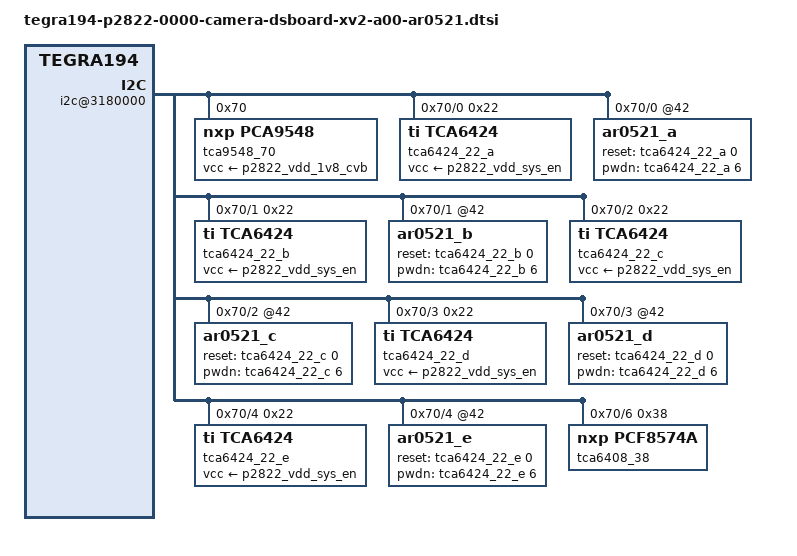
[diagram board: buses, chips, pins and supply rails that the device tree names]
/*
 * Copyright (c) 2015-2018, NVIDIA CORPORATION.  All rights reserved.
 *
 * This program is free software; you can redistribute it and/or modify
 * it under the terms of the GNU General Public License as published by
 * the Free Software Foundation; either version 2 of the License, or
 * (at your option) any later version.
 *
 * This program is distributed in the hope that it will be useful, but WITHOUT
 * ANY WARRANTY; without even the implied warranty of MERCHANTABILITY or
 * FITNESS FOR A PARTICULAR PURPOSE.  See the GNU General Public License for
 * more details.
 *
 * You should have received a copy of the GNU General Public License
 * along with this program.  If not, see <http://www.gnu.org/licenses/>.
 */
#include "tegra194-camera-dsboard-xv2-a00-ar0521.dtsi"
#include "dt-bindings/clock/tegra194-clock.h"

#define CAMERA_I2C_MUX_BUS(x) (0x1E + x)

/* Enable Six overlays */
&head0 {
	win-mask = <0x3f>;
};

/ {

	i2c@3180000 {
		tca9548_70: tca9548@70 {
			status = "okay";
			compatible = "nxp,pca9548";
			reg = <0x70>;
			#address-cells = <1>;
			#size-cells = <0>;
			vcc-supply = <&p2822_vdd_1v8_cvb>;
			skip_mux_detect;
			force_bus_start = <CAMERA_I2C_MUX_BUS(0)>;
			i2c@0 {
				status="okay";
				reg = <0>;
				i2c-mux,deselect-on-exit;
				#address-cells = <1>;
				#size-cells = <0>;
				tca6424_22_a: tca6424@22 {
			    		compatible = "ti,tca6424";
			    		gpio-controller;
			    		#gpio-cells = <2>;
			    		reg = <0x22>;
					vcc-supply = <&p2822_vdd_sys_en>;
			    		status = "okay";
			    		tca6424_22_outlow {
			    		/*
				 	* GPIO-0 : RST_CAM1
				 	* GPIO-1 : RST_CAM2
				 	* GPIO-2 : RST_CAM3
				 	* .... more is there
				 	*/
				 	gpio-hog;
				 	gpios = <0 0 1 0 2 0 3 0 4 0 5 0 6 0 7 0>;
				 	output-low;
				 	label = "tca6424_22_outlow_0",
				         	"tca6424_22_outlow_1",
				         	"tca6424_22_outlow_2",
				         	"tca6424_22_outlow_3",
				         	"tca6424_22_outlow_4",
				         	"tca6424_22_outlow_5",
				         	"tca6424_22_outlow_6",
				         	"tca6424_22_outlow_7";
			    		};
			    		tca6424_22_outhigh {
			            		status = "disabled";
			    		};
			    		tca6424_22_input {
			            		status = "disabled";
			    		};
				};
				ar0521_a@42 {
					reset-gpios = <&tca6424_22_a 0 GPIO_ACTIVE_HIGH>;
					pwdn-gpios  = <&tca6424_22_a 6 GPIO_ACTIVE_HIGH>;
				};
			};
			i2c@1 {
				status="okay";
				reg = <1>;
				i2c-mux,deselect-on-exit;
				#address-cells = <1>;
				#size-cells = <0>;
				tca6424_22_b: tca6424@22 {
			    		compatible = "ti,tca6424";
			    		gpio-controller;
			    		#gpio-cells = <2>;
			    		reg = <0x22>;
					vcc-supply = <&p2822_vdd_sys_en>;
			    		status = "okay";
			    		tca6424_22_outlow {
			    		/*
				 	* GPIO-0 : RST_CAM1
				 	* GPIO-1 : RST_CAM2
				 	* GPIO-2 : RST_CAM3
				 	* .... more is there
				 	*/
				 	gpio-hog;
				 	gpios = <0 0 1 0 2 0 3 0 4 0 5 0 6 0 7 0>;
				 	output-low;
				 	label = "tca6424_22_outlow_0",
				         	"tca6424_22_outlow_1",
				         	"tca6424_22_outlow_2",
				         	"tca6424_22_outlow_3",
				         	"tca6424_22_outlow_4",
				         	"tca6424_22_outlow_5",
				         	"tca6424_22_outlow_6",
				         	"tca6424_22_outlow_7";
			    		};
			    		tca6424_22_outhigh {
			            		status = "disabled";
			    		};
			    		tca6424_22_input {
			            		status = "disabled";
			    		};
				};
				ar0521_b@42 {
					reset-gpios = <&tca6424_22_b 0 GPIO_ACTIVE_HIGH>;
					pwdn-gpios  = <&tca6424_22_b 6 GPIO_ACTIVE_HIGH>;
				};
			};
			i2c@2 {
				status="okay";
				reg = <2>;
				i2c-mux,deselect-on-exit;
				#address-cells = <1>;
				#size-cells = <0>;
				tca6424_22_c: tca6424@22 {
			    		compatible = "ti,tca6424";
			    		gpio-controller;
			    		#gpio-cells = <2>;
			    		reg = <0x22>;
					vcc-supply = <&p2822_vdd_sys_en>;
			    		status = "okay";
			    		tca6424_22_outlow {
			    			/*
				 		* GPIO-0 : RST_CAM1
				 		* GPIO-1 : RST_CAM2
				 		* GPIO-2 : RST_CAM3
				 		* .... more is there
				 		*/
				 		gpio-hog;
				 		gpios = <0 0 1 0 2 0 3 0 4 0 5 0 6 0 7 0>;
				 		output-low;
				 		label = "tca6424_22_outlow_0",
				         		"tca6424_22_outlow_1",
				         		"tca6424_22_outlow_2",
				         		"tca6424_22_outlow_3",
				         		"tca6424_22_outlow_4",
				         		"tca6424_22_outlow_5",
				         		"tca6424_22_outlow_6",
				         		"tca6424_22_outlow_7";
			    		};
			    		tca6424_22_outhigh {
			            		status = "disabled";
			    		};
			    		tca6424_22_input {
			            		status = "disabled";
			    		};
				};	
				ar0521_c@42 {
					reset-gpios = <&tca6424_22_c 0 GPIO_ACTIVE_HIGH>;
					pwdn-gpios  = <&tca6424_22_c 6 GPIO_ACTIVE_HIGH>;
				};
			};
			i2c@3 {
				status="okay";
				reg = <3>;
				i2c-mux,deselect-on-exit;
				#address-cells = <1>;
				#size-cells = <0>;
				tca6424_22_d: tca6424@22 {
			    		compatible = "ti,tca6424";
			    		gpio-controller;
			    		#gpio-cells = <2>;
			    		reg = <0x22>;
					vcc-supply = <&p2822_vdd_sys_en>;
			    		status = "okay";
			    		tca6424_22_outlow {
			    			/*
				 		* GPIO-0 : RST_CAM1
				 		* GPIO-1 : RST_CAM2
				 		* GPIO-2 : RST_CAM3
				 		* .... more is there
				 		*/
				 		gpio-hog;
				 		gpios = <0 0 1 0 2 0 3 0 4 0 5 0 6 0 7 0>;
				 		output-low;
				 		label = "tca6424_22_outlow_0",
				         		"tca6424_22_outlow_1",
				         		"tca6424_22_outlow_2",
				         		"tca6424_22_outlow_3",
				         		"tca6424_22_outlow_4",
				         		"tca6424_22_outlow_5",
				         		"tca6424_22_outlow_6",
				         		"tca6424_22_outlow_7";
			    		};
			    		tca6424_22_outhigh {
			            		status = "disabled";
			    		};
			    		tca6424_22_input {
			            		status = "disabled";
			    		};
				};
				ar0521_d@42 {
					reset-gpios = <&tca6424_22_d 0 GPIO_ACTIVE_HIGH>;
					pwdn-gpios  = <&tca6424_22_d 6 GPIO_ACTIVE_HIGH>;
				};
			};
			i2c@4 {
				status="okay";
				reg = <4>;
				i2c-mux,deselect-on-exit;
				#address-cells = <1>;
				#size-cells = <0>;
				tca6424_22_e: tca6424@22 {
			    		compatible = "ti,tca6424";
			    		gpio-controller;
			    		#gpio-cells = <2>;
			    		reg = <0x22>;
					vcc-supply = <&p2822_vdd_sys_en>;
			    		status = "okay";
			    		tca6424_22_outlow {
			    			/*
				 		* GPIO-0 : RST_CAM1
				 		* GPIO-1 : RST_CAM2
				 		* GPIO-2 : RST_CAM3
				 		* .... more is there
				 		*/
				 		gpio-hog;
				 		gpios = <0 0 1 0 2 0 3 0 4 0 5 0 6 0 7 0>;
				 		output-low;
				 		label = "tca6424_22_outlow_0",
				         		"tca6424_22_outlow_1",
				         		"tca6424_22_outlow_2",
				         		"tca6424_22_outlow_3",
				         		"tca6424_22_outlow_4",
				         		"tca6424_22_outlow_5",
				         		"tca6424_22_outlow_6",
				         		"tca6424_22_outlow_7";
			    		};
			    		tca6424_22_outhigh {
			            		status = "disabled";
			    		};
			    		tca6424_22_input {
			            		status = "disabled";
			    		};
				};
				ar0521_e@42 {
					reset-gpios = <&tca6424_22_e 0 GPIO_ACTIVE_HIGH>;
					pwdn-gpios  = <&tca6424_22_e 6 GPIO_ACTIVE_HIGH>;
				};
			};
			i2c@5 {
				status="disabled";
				reg = <5>;
				i2c-mux,deselect-on-exit;
				#address-cells = <1>;
				#size-cells = <0>;
				tca6424_22_f: tca6424@22 {
			    		compatible = "ti,tca6424";
			    		gpio-controller;
			    		#gpio-cells = <2>;
			    		reg = <0x22>;
					vcc-supply = <&p2822_vdd_sys_en>;
			    		status = "disabled";
			    		tca6424_22_outlow {
			    			/*
				 		* GPIO-0 : RST_CAM1
				 		* GPIO-1 : RST_CAM2
				 		* GPIO-2 : RST_CAM3
				 		* .... more is there
				 		*/
				 		gpio-hog;
				 		gpios = <0 0 1 0 2 0 3 0 4 0 5 0 6 0 7 0>;
				 		output-low;
				 		label = "tca6424_22_outlow_0",
				         		"tca6424_22_outlow_1",
				         		"tca6424_22_outlow_2",
				         		"tca6424_22_outlow_3",
				         		"tca6424_22_outlow_4",
				         		"tca6424_22_outlow_5",
				         		"tca6424_22_outlow_6",
				         		"tca6424_22_outlow_7";
			    		};
			    		tca6424_22_outhigh {
			            		status = "disabled";
			    		};
			    		tca6424_22_input {
			            		status = "disabled";
			    		};
				};
				ar0521_f@42 {
					reset-gpios = <&tca6424_22_f 0 GPIO_ACTIVE_HIGH>;
					pwdn-gpios  = <&tca6424_22_f 6 GPIO_ACTIVE_HIGH>;
				};
			};

			i2c@6 {
				reg = <6>;
				i2c-mux,deselect-on-exit;
				#address-cells = <1>;
				#size-cells = <0>;
				tca6408_38: tca6408@38 {
					compatible = "nxp,pcf8574a";
					reg = <0x38>;
					gpio-controller;
					#gpio-cells = <2>;
					tca6408_38_outlow {
						/*
						 * GPIO-0 : PWDN_CAM0
						 * GPIO-1 : PWDN_CAM1
						 * GPIO-2 : PWDN_CAM2
						 * GPIO-3 : PWDN_CAM3
						 * GPIO-4 : PWDN_CAM4
						 * GPIO-5 : PWDN_CAM5
						 * GPIO-6 : 
						 * GPIO-7 : 
						 */
						gpio-hog;
						gpios = <0 0 1 0 2 0 3 0 4 0 5 0 6 0 7 0>;
						output-low;
						label = "tca6408_38_outlow_0",
							"tca6408_38_outlow_1",
							"tca6408_38_outlow_2",
							"tca6408_38_outlow_3",
							"tca6408_38_outlow_4",
							"tca6408_38_outlow_5",
							"tca6408_38_outlow_6",
							"tca6408_38_outlow_7";
					};
				};
			};
		};
	};
};
